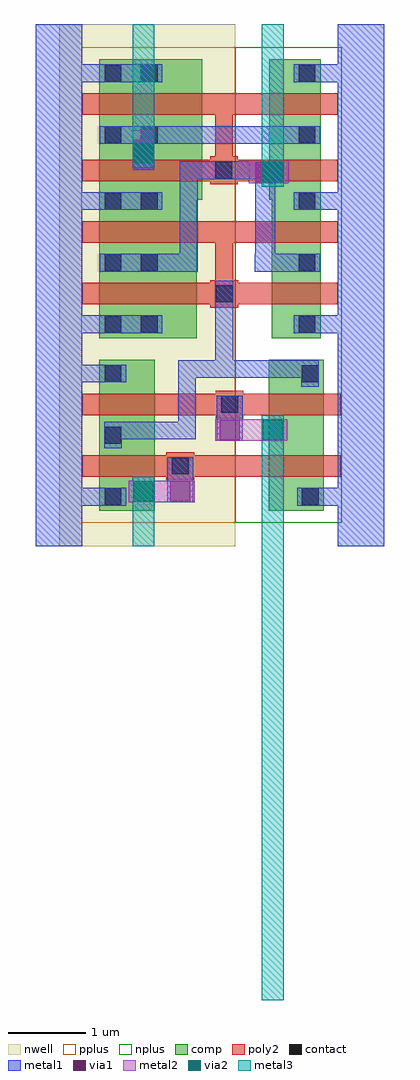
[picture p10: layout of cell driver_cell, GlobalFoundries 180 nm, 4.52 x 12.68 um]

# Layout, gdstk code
import gdstk
lib = gdstk.Library(unit=1e-6, precision=5e-09)
def R(c, l, rs):  # rectangles x0, y0, x1, y1
    for r in rs: c.add(gdstk.rectangle(r[:2], r[2:], *l))
def A(c, l, x, y, w, h, nx, ny, dx, dy):  # array of equal rectangles
    R(c, l, [(x+i*dx, y+j*dy, x+i*dx+w, y+j*dy+h) for i in range(nx) for j in range(ny)])
nwell = (21, 0)
comp = (22, 0)
poly2 = (30, 0)
pplus = (31, 0)
nplus = (32, 0)
contact = (33, 0)
metal1 = (34, 0)
via1 = (35, 0)
metal2 = (36, 0)
via2 = (38, 0)
metal3 = (42, 0)

driver_cell = lib.new_cell('driver_cell')
R(driver_cell, nwell, [(-3.05,0.555,-0.76,7.335)])
R(driver_cell, comp, [(-2.53,1.015,-1.81,2.975), (-0.33,1.015,0.39,2.975), (-2.53,3.255,-1.26,5.055), (-0.285,3.255,0.35,5.055), (-2.53,5.055,-1.19,6.875), (-0.32,5.055,0.35,6.875)])
A(driver_cell, poly2, -2.75, 3.695, 3.32, 0.28, 1, 3, 0, 0.8)
R(driver_cell, poly2, [(-1.655,1.415,-1.295,1.775), (-2.75,1.455,0.61,1.735), (-1.015,2.215,-0.655,2.575), (-2.75,2.255,0.61,2.535), (-1.085,3.65,-0.725,4.01), (-1.02,3.97,-0.79,4.495), (-1.09,5.255,-0.73,5.615), (-1.025,5.575,-0.795,6.155), (-2.75,6.155,0.57,6.435)])
R(driver_cell, pplus, [(-2.76,0.855,-0.76,7.035)])
R(driver_cell, nplus, [(-0.76,0.855,0.62,7.035)])
A(driver_cell, contact, -2.46, 1.085, 0.22, 0.22, 1, 3, 0, 0.8)
A(driver_cell, contact, -2.46, 3.325, 0.22, 0.22, 1, 3, 0, 0.8)
A(driver_cell, contact, -1.99, 3.325, 0.22, 0.22, 1, 3, 0, 0.8)
A(driver_cell, contact, 0.06, 3.325, 0.22, 0.22, 1, 3, 0, 0.8)
R(driver_cell, contact, [(0.1,1.085,0.32,1.305), (-1.585,1.485,-1.365,1.705), (-0.945,2.285,-0.725,2.505), (0.1,2.685,0.32,2.905), (-1.015,3.72,-0.795,3.94), (-1.02,5.325,-0.8,5.545), (-2.46,5.785,-2.24,6.005), (-1.99,5.785,-1.77,6.005), (0.06,5.785,0.28,6.005), (-2.46,6.585,-2.24,6.805), (-1.99,6.585,-1.77,6.805), (0.06,6.585,0.28,6.805)])
R(driver_cell, metal1, [(-3.35,0.555,-2.75,7.335), (0.57,0.555,1.17,7.335), (-2.75,1.08,-2.18,1.31), (0.04,1.08,0.57,1.31), (-1.645,1.125,-1.305,1.71), (-2.465,1.825,-2.235,2.17), (-1.005,1.925,-0.665,2.51), (-2.235,1.94,-1.275,2.17), (-1.505,2.17,-1.275,2.74), (0.095,2.625,0.325,2.97), (-2.75,2.68,-2.18,2.91), (-1.505,2.74,0.095,2.97), (-1.02,2.97,-0.79,4), (-2.75,3.32,-1.71,3.55), (0,3.32,0.57,3.55), (-2.52,4.12,-1.25,4.35), (-0.51,4.12,0.34,4.35), (-1.48,4.35,-1.25,5.32), (-0.5,4.35,-0.24,5.32), (-2.75,4.92,-1.71,5.15), (0,4.92,0.57,5.15), (-1.48,5.32,-0.175,5.55), (-2.085,5.45,-1.825,6.01), (-2.52,5.78,0.34,6.01), (-2.75,6.58,-1.71,6.81), (0,6.58,0.57,6.81)])
R(driver_cell, via1, [(-1.605,1.135,-1.345,1.395), (-0.965,1.935,-0.705,2.195), (-0.5,5.28,-0.24,5.54), (-2.085,5.57,-1.825,5.83)])
R(driver_cell, metal2, [(-2.145,1.125,-1.285,1.405), (-1.025,1.925,-0.085,2.205), (-0.59,5.27,-0.07,5.55), (-2.095,5.435,-1.815,5.955)])
R(driver_cell, via2, [(-2.085,1.135,-1.825,1.395), (-0.405,1.935,-0.145,2.195), (-0.405,5.28,-0.145,5.54), (-2.085,5.525,-1.825,5.785)])
R(driver_cell, metal3, [(-0.415,-5.34,-0.135,2.255), (-2.095,0.555,-1.815,1.455), (-0.415,5.22,-0.135,7.335), (-2.095,5.465,-1.815,7.335)])

lib.write_gds('driver_cell.gds')
